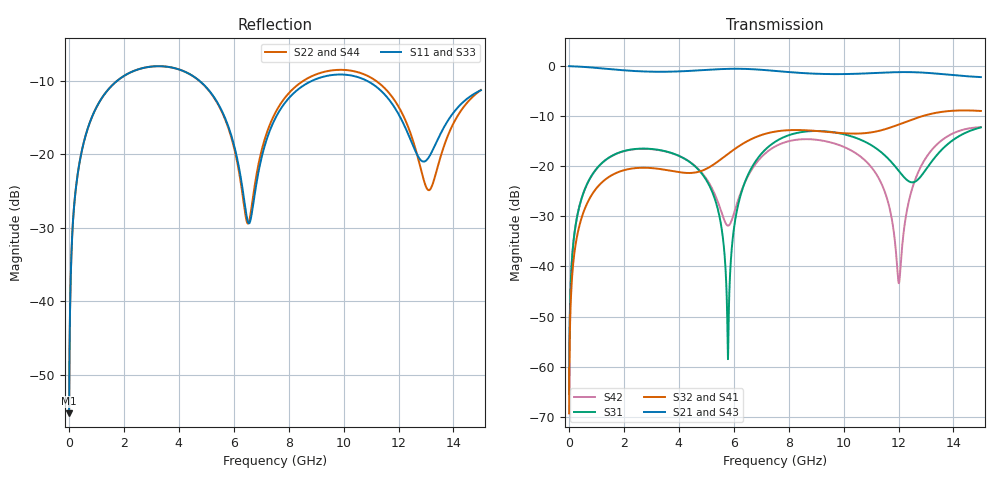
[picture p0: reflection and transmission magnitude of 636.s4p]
! Created with skrf 1.8.0 (http://scikit-rf.org).
# GHz S RI R 50.0
!freq ReS11 ImS11 ReS12 ImS12 ReS13 ImS13
! ReS14 ImS14
! ReS21 ImS21 ReS22 ImS22 ReS23 ImS23
! ReS24 ImS24
! ReS31 ImS31 ReS32 ImS32 ReS33 ImS33
! ReS34 ImS34
! ReS41 ImS41 ReS42 ImS42 ReS43 ImS43
! ReS44 ImS44
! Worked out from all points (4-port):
!   2499 points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, 5 MHz to 15 GHz, reference 50 ohm
!   strongest paths, dB at 5 MHz, 3.476 GHz, 7.19 GHz, 11.1 GHz, 15 GHz:
!     S21: 0.0, -1.1, -0.8, -1.4, -2.2
!     S43: 0.0, -1.1, -0.8, -1.4, -2.2
!     S32: -69.3, -20.7, -13.5, -13.1, -9.0
!     S41: -69.3, -20.7, -13.5, -13.2, -9.0
!     S31: -65.4, -16.9, -16.5, -16.1, -12.2
!     S42: -65.4, -17.0, -17.2, -20.8, -12.2
!   lowest |S11| = -55.2 dB at 5 MHz (marker M1), VSWR 1.00, Z = 50.1 + j0.105 ohm
!   |S11| at or under -10 dB: start of sweep to 1.764 GHz; 4.743 GHz to 8.866 GHz (4.124 GHz wide, 60.6 % of centre); 10.84 GHz to end of sweep
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0.005  0.00138 0.00105  0.9986 -0.00268  6.8e-05 0.000534  -6.62e-05 -0.000336
       0.9986 -0.00268  0.00138 0.00105  -6.62e-05 -0.000336  6.8e-05 0.000534
       6.8e-05 0.000534  -6.62e-05 -0.000336  0.00138 0.00105  0.9986 -0.00268
       -6.62e-05 -0.000336  6.8e-05 0.000534  0.9986 -0.00268  0.00138 0.00105
0.3126303  0.0179 0.07  0.9756 -0.168  0.00787 0.0322  -0.00655 -0.0202
           0.9756 -0.168  0.0179 0.0699  -0.00655 -0.0202  0.00778 0.0322
           0.00787 0.0322  -0.00655 -0.0202  0.0179 0.0699  0.9756 -0.168
           -0.00655 -0.0202  0.00778 0.0322  0.9756 -0.168  0.0179 0.0699
1.569404  0.2215 0.1924  0.6483 -0.6651  0.1066 0.0699  -0.0789 -0.0215
          0.6483 -0.6651  0.2218 0.1922  -0.079 -0.0215  0.1054 0.0711
          0.1066 0.0699  -0.079 -0.0215  0.2214 0.1924  0.6483 -0.6651
          -0.0789 -0.0215  0.1054 0.0711  0.6483 -0.6651  0.2219 0.1921
5.789912  0.081 -0.1341  -0.8503 -0.3976  -0.00118 -0.00018  -0.0531 0.1217
          -0.8503 -0.3976  0.0789 -0.1314  -0.052 0.1223  -0.0238 -0.00926
          -0.00118 -0.00018  -0.052 0.1223  0.0801 -0.1344  -0.8504 -0.3975
          -0.0531 0.1217  -0.0238 -0.00926  -0.8504 -0.3975  0.0797 -0.131
7.41559  0.105 0.1214  -0.8337 0.3392  0.1271 0.1112  0.1102 0.1893
         -0.8337 0.3392  0.1154 0.132  0.1122 0.1889  0.0717 0.1345
         0.1271 0.1112  0.1122 0.1889  0.1028 0.1226  -0.8334 0.3395
         0.1102 0.1893  0.0717 0.1345  -0.8334 0.3395  0.1182 0.1318
12.01125  0.1458 -0.1152  0.6774 0.5472  -0.057 -0.0696  0.1598 -0.2065
          0.6774 0.5472  0.1348 -0.1595  0.1543 -0.211  0.00617 0.00287
          -0.057 -0.0696  0.1543 -0.211  0.1514 -0.1122  0.6771 0.5468
          0.1598 -0.2065  0.00617 0.00287  0.6771 0.5468  0.1317 -0.164
15  0.2594 0.0813  0.5715 -0.5262  0.2396 0.0495  -0.2932 -0.2004
    0.5715 -0.5262  0.2505 0.109  -0.2988 -0.1949  0.2266 0.0942
    0.2396 0.0495  -0.2988 -0.1949  0.2601 0.0823  0.5699 -0.5265
    -0.2932 -0.2004  0.2266 0.0942  0.5699 -0.5265  0.2548 0.1115
